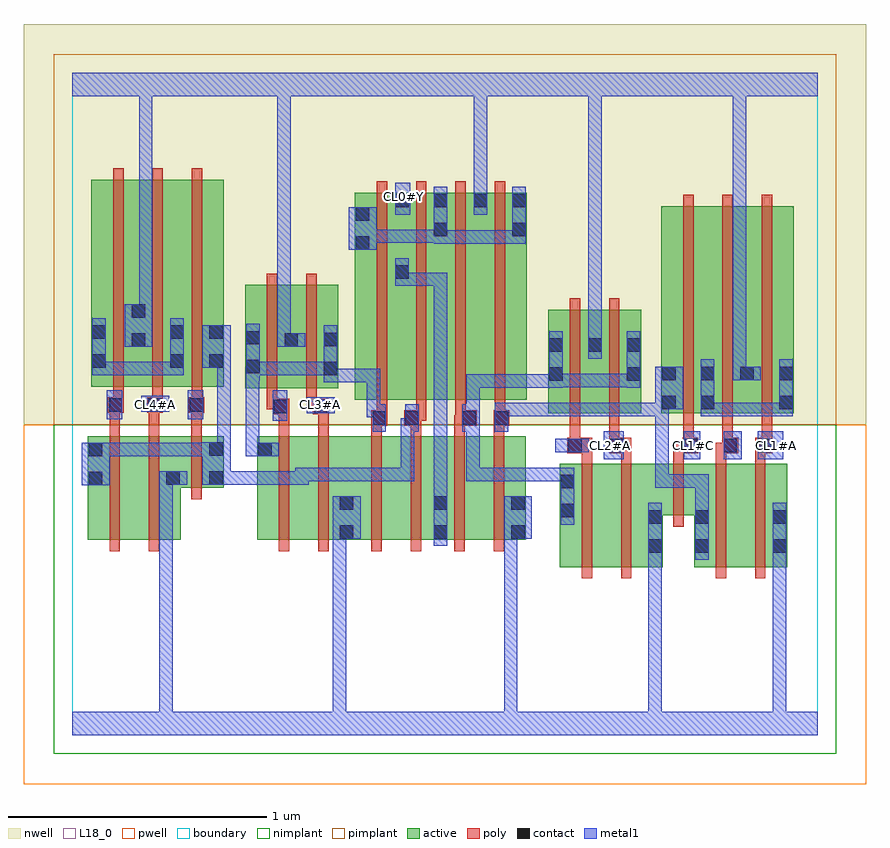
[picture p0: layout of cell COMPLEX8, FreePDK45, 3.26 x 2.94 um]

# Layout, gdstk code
import gdstk
lib = gdstk.Library(unit=1e-6, precision=1e-09)
def R(c, l, rs):  # rectangles x0, y0, x1, y1
    for r in rs: c.add(gdstk.rectangle(r[:2], r[2:], *l))
def A(c, l, x, y, w, h, nx, ny, dx, dy):  # array of equal rectangles
    R(c, l, [(x+i*dx, y+j*dy, x+i*dx+w, y+j*dy+h) for i in range(nx) for j in range(ny)])
active = (1, 0)
pwell = (2, 0)
nwell = (3, 0)
nimplant = (4, 0)
pimplant = (5, 0)
poly = (9, 0)
contact = (10, 0)
metal1 = (11, 0)
L18_0 = (18, 0)
boundary = (235, 0)

complex8 = lib.new_cell('COMPLEX8')
A(complex8, active, 2.424, 1.244, 0.06, 0.8, 3, 1, 0.152, 0)
R(complex8, active, [(1.884,0.65,1.944,1.05), (1.884,0.65,2.064,1.05), (2.064,0.65,2.282,1.05), (2.222,0.65,2.282,1.05), (2.402,0.65,2.462,1.05), (2.402,0.65,2.582,1.05), (2.582,0.65,2.762,1.05), (2.702,0.65,2.762,1.05), (0.06,0.756,0.12,1.156), (0.06,0.756,0.24,1.156), (0.24,0.756,0.42,1.156), (0.714,0.756,0.774,1.156), (0.714,0.756,0.894,1.156), (0.894,0.756,1.09,1.156), (1.03,0.756,1.252,1.156), (1.03,0.756,1.09,0.928), (1.252,0.756,1.452,1.156), (1.392,0.756,1.452,1.156), (1.392,0.756,1.572,1.156), (1.572,0.756,1.752,1.156), (1.692,0.756,1.752,1.156), (2.222,0.85,2.462,1.05), (0.36,0.884,0.42,1.028), (0.36,0.956,0.586,1.156), (0.526,0.956,0.586,1.156), (1.838,1.244,1.898,1.644), (1.838,1.244,2.05,1.644), (1.99,1.244,2.05,1.644), (1.99,1.244,2.198,1.644), (2.138,1.244,2.198,1.644), (2.276,1.244,2.336,2.044), (2.276,1.244,2.484,2.044), (2.424,1.244,2.636,2.044), (2.576,1.244,2.788,2.044), (1.092,1.296,1.304,2.096), (1.092,1.296,1.152,2.044), (1.244,1.296,1.304,2.096), (1.244,1.296,1.452,2.096), (1.392,1.296,1.452,2.096), (1.392,1.296,1.608,2.096), (1.548,1.296,1.756,2.096), (1.696,1.296,1.756,2.096), (0.668,1.34,0.728,1.74), (0.668,1.34,0.876,1.74), (0.816,1.34,1.028,1.74), (0.968,1.34,1.028,1.644), (0.074,1.346,0.286,2.146), (0.074,1.346,0.134,2.044), (0.226,1.346,0.286,2.146), (0.226,1.346,0.434,2.146), (0.374,1.346,0.434,2.146), (0.374,1.346,0.586,2.146), (0.526,1.346,0.586,2.044), (0.816,1.498,0.876,1.644), (1.548,1.558,1.608,2.096)])
R(complex8, pwell, [(-0.188,-0.188,3.068,1.2)])
R(complex8, nwell, [(-0.188,1.2,3.068,2.748)])
R(complex8, nimplant, [(-0.072,-0.072,2.952,1.2)])
R(complex8, pimplant, [(-0.072,1.2,2.952,2.632)])
A(complex8, poly, 2.36, 1.11, 0.04, 0.13, 3, 1, 0.152, 0)
A(complex8, poly, 2.36, 1.2, 0.04, 0.888, 3, 1, 0.152, 0)
A(complex8, poly, 1.176, 1.216, 0.04, 0.076, 4, 1, 0.152, 0)
A(complex8, poly, 1.176, 1.252, 0.04, 0.888, 4, 1, 0.152, 0)
A(complex8, poly, 0.158, 1.266, 0.04, 0.076, 3, 1, 0.152, 0)
A(complex8, poly, 0.158, 1.302, 0.04, 0.888, 3, 1, 0.152, 0)
R(complex8, poly, [(1.968,0.606,2.008,1.094), (2.12,0.606,2.16,1.094), (2.486,0.606,2.526,1.094), (2.638,0.606,2.678,1.094), (0.144,0.712,0.184,1.2), (0.296,0.712,0.336,1.2), (0.798,0.712,0.838,1.2), (0.95,0.712,0.99,1.2), (1.156,0.712,1.196,1.2), (1.308,0.712,1.348,1.2), (1.476,0.712,1.516,1.2), (1.628,0.712,1.668,1.2), (2.322,0.806,2.362,1.094), (0.46,0.912,0.5,1.2), (1.968,1.054,2.008,1.13), (2.12,1.054,2.16,1.13), (2.322,1.054,2.362,1.13), (2.486,1.054,2.526,1.13), (2.638,1.054,2.678,1.13), (1.912,1.09,2.008,1.15), (2.074,1.09,2.16,1.15), (2.322,1.09,2.398,1.13), (2.358,1.09,2.398,1.13), (2.358,1.09,2.418,1.15), (2.486,1.09,2.552,1.13), (2.512,1.09,2.552,1.13), (2.512,1.09,2.572,1.15), (2.638,1.09,2.704,1.15), (1.922,1.11,1.962,1.24), (1.922,1.11,1.962,1.15), (1.922,1.11,1.962,1.15), (2.074,1.11,2.114,1.24), (2.074,1.11,2.114,1.15), (2.074,1.11,2.114,1.15), (2.664,1.11,2.704,1.15), (2.664,1.11,2.704,1.15), (0.144,1.16,0.184,1.286), (0.296,1.16,0.336,1.286), (0.46,1.16,0.5,1.286), (0.798,1.16,0.838,1.28), (0.95,1.16,0.99,1.28), (1.156,1.16,1.196,1.236), (1.308,1.16,1.348,1.236), (1.476,1.16,1.516,1.236), (1.628,1.16,1.668,1.236), (1.156,1.196,1.196,1.236), (1.156,1.196,1.196,1.236), (1.156,1.196,1.216,1.256), (1.282,1.196,1.348,1.256), (1.476,1.196,1.52,1.236), (1.48,1.196,1.52,1.236), (1.48,1.196,1.562,1.256), (1.628,1.196,1.668,1.236), (1.628,1.196,1.668,1.236), (1.628,1.196,1.688,1.256), (1.922,1.2,1.962,1.688), (2.074,1.2,2.114,1.688), (1.308,1.216,1.348,1.256), (1.308,1.216,1.368,1.256), (0.774,1.24,0.838,1.3), (0.93,1.24,0.99,1.3), (0.138,1.246,0.198,1.306), (0.144,1.246,0.184,1.286), (0.144,1.246,0.184,1.286), (0.29,1.246,0.35,1.306), (0.296,1.246,0.336,1.286), (0.296,1.246,0.336,1.286), (0.45,1.246,0.51,1.306), (0.752,1.26,0.792,1.336), (0.752,1.26,0.814,1.3), (0.774,1.26,0.814,1.3), (0.904,1.26,0.944,1.336), (0.904,1.26,0.97,1.3), (0.93,1.26,0.97,1.3), (0.462,1.266,0.502,1.306), (0.462,1.266,0.502,1.306), (0.752,1.296,0.792,1.784), (0.904,1.296,0.944,1.784)])
A(complex8, contact, 2.428, 1.372, 0.052, 0.052, 3, 1, 0.152, 0)
R(complex8, contact, [(2.226,0.706,2.278,0.758), (2.406,0.706,2.458,0.758), (2.706,0.706,2.758,0.758), (1.034,0.76,1.086,0.812), (1.396,0.76,1.448,0.812), (1.696,0.76,1.748,0.812), (2.226,0.818,2.278,0.87), (2.406,0.818,2.458,0.87), (2.706,0.818,2.758,0.87), (1.888,0.842,1.94,0.894), (1.034,0.872,1.086,0.924), (1.396,0.872,1.448,0.924), (1.696,0.872,1.748,0.924), (1.888,0.954,1.94,1.006), (0.064,0.966,0.116,1.018), (0.364,0.968,0.416,1.02), (0.53,0.968,0.582,1.02), (0.064,1.078,0.116,1.13), (0.718,1.078,0.77,1.13), (0.53,1.08,0.582,1.132), (1.916,1.094,1.968,1.146), (2.078,1.094,2.13,1.146), (2.362,1.094,2.414,1.146), (2.516,1.094,2.568,1.146), (2.648,1.094,2.7,1.146), (1.16,1.2,1.212,1.252), (1.286,1.2,1.338,1.252), (1.506,1.2,1.558,1.252), (1.632,1.2,1.684,1.252), (0.778,1.244,0.83,1.296), (0.934,1.244,0.986,1.296), (0.142,1.25,0.194,1.302), (0.294,1.25,0.346,1.302), (0.454,1.25,0.506,1.302), (2.28,1.26,2.332,1.312), (2.428,1.26,2.48,1.312), (2.732,1.26,2.784,1.312), (1.842,1.37,1.894,1.422), (2.142,1.37,2.194,1.422), (2.28,1.372,2.332,1.424), (0.972,1.392,1.024,1.444), (0.672,1.398,0.724,1.45), (0.078,1.42,0.13,1.472), (0.378,1.42,0.43,1.472), (0.53,1.42,0.582,1.472), (1.842,1.482,1.894,1.534), (1.994,1.482,2.046,1.534), (2.142,1.482,2.194,1.534), (0.23,1.502,0.282,1.554), (0.82,1.502,0.872,1.554), (0.972,1.504,1.024,1.556), (0.672,1.51,0.724,1.562), (0.078,1.532,0.13,1.584), (0.378,1.532,0.43,1.584), (0.53,1.532,0.582,1.584), (0.23,1.614,0.282,1.666), (1.248,1.764,1.3,1.816), (1.096,1.876,1.148,1.928), (1.396,1.928,1.448,1.98), (1.7,1.928,1.752,1.98), (1.096,1.988,1.148,2.04), (1.248,2.04,1.3,2.092), (1.396,2.04,1.448,2.092), (1.552,2.04,1.604,2.092), (1.7,2.04,1.752,2.092)])
R(complex8, metal1, [(0,0,2.88,0.092), (0.336,0.04,0.388,0.092), (0.336,0.04,0.388,0.092), (0.336,0.04,0.388,0.092), (0.336,0.04,0.388,0.092), (0.336,0.04,0.388,0.092), (0.336,0.04,0.388,0.092), (0.336,0.04,0.388,0.092), (0.336,0.04,0.388,0.092), (0.336,0.04,0.388,0.092), (0.336,0.04,0.388,0.092), (0.336,0.04,0.388,0.092), (0.336,0.04,0.388,0.092), (0.336,0.04,0.388,1.02), (1.006,0.04,1.058,0.092), (1.006,0.04,1.058,0.092), (1.006,0.04,1.058,0.812), (1.668,0.04,1.72,0.092), (1.668,0.04,1.72,0.092), (1.668,0.04,1.72,0.362), (2.226,0.04,2.278,0.73), (2.706,0.04,2.758,0.092), (2.706,0.04,2.758,0.092), (2.706,0.04,2.758,0.092), (2.706,0.04,2.758,0.092), (2.706,0.04,2.758,0.092), (2.706,0.04,2.758,0.092), (2.706,0.04,2.758,0.092), (2.706,0.04,2.758,0.092), (2.706,0.04,2.758,0.092), (2.706,0.04,2.758,0.092), (2.706,0.04,2.758,0.73), (1.668,0.31,1.72,0.362), (1.668,0.31,1.72,0.362), (1.668,0.31,1.72,0.362), (1.668,0.31,1.72,0.362), (1.668,0.31,1.72,0.362), (1.668,0.31,1.72,0.362), (1.668,0.31,1.72,0.362), (1.668,0.31,1.72,0.362), (1.668,0.31,1.72,0.362), (1.668,0.31,1.72,0.812), (2.226,0.678,2.278,0.73), (2.226,0.678,2.278,0.73), (2.226,0.678,2.278,0.73), (2.226,0.678,2.278,0.73), (2.226,0.678,2.278,0.73), (2.226,0.678,2.278,0.73), (2.226,0.678,2.278,0.73), (2.226,0.678,2.278,0.73), (2.226,0.678,2.278,0.73), (2.226,0.678,2.278,0.73), (2.226,0.678,2.278,0.73), (2.226,0.678,2.278,0.73), (2.226,0.678,2.278,0.898), (2.406,0.678,2.458,0.898), (2.706,0.678,2.758,0.73), (2.706,0.678,2.758,0.73), (2.706,0.678,2.758,0.898), (1.396,0.732,1.448,0.952), (1.006,0.76,1.058,0.812), (1.006,0.76,1.058,0.812), (1.006,0.76,1.058,0.812), (1.006,0.76,1.058,0.812), (1.006,0.76,1.058,0.812), (1.006,0.76,1.058,0.812), (1.006,0.76,1.058,0.812), (1.006,0.76,1.058,0.812), (1.006,0.76,1.058,0.812), (1.006,0.76,1.058,0.812), (1.006,0.76,1.114,0.924), (1.668,0.76,1.776,0.924), (1.888,0.814,1.94,1.034), (2.406,0.846,2.458,1.008), (1.396,0.9,1.448,1.788), (2.252,0.956,2.304,1.008), (2.252,0.956,2.458,1.008), (2.252,0.956,2.304,1.284), (2.406,0.956,2.458,1.008), (2.406,0.956,2.458,1.008), (2.406,0.956,2.458,1.008), (0.036,0.966,0.144,1.13), (0.336,0.968,0.444,1.02), (0.502,0.968,0.612,1.132), (0.56,0.968,0.612,1.02), (0.56,0.968,0.612,1.02), (0.56,0.968,0.734,1.02), (0.682,0.968,0.734,1.02), (0.682,0.968,0.734,1.02), (0.682,0.968,0.734,1.02), (0.682,0.968,0.914,1.02), (0.862,0.968,0.914,1.02), (0.862,0.968,0.914,1.02), (0.862,0.968,0.914,1.034), (0.862,0.982,1.066,1.034), (1.014,0.982,1.066,1.034), (1.014,0.982,1.066,1.034), (1.014,0.982,1.066,1.034), (1.014,0.982,1.066,1.034), (1.014,0.982,1.066,1.034), (1.014,0.982,1.228,1.034), (1.176,0.982,1.228,1.034), (1.176,0.982,1.322,1.034), (1.27,0.982,1.322,1.034), (1.27,0.982,1.322,1.224), (1.522,0.982,1.574,1.034), (1.522,0.982,1.76,1.034), (1.522,0.982,1.574,1.224), (1.708,0.982,1.76,1.034), (1.708,0.982,1.76,1.034), (1.708,0.982,1.76,1.034), (1.708,0.982,1.76,1.034), (1.708,0.982,1.76,1.034), (1.708,0.982,1.94,1.034), (2.054,1.066,2.13,1.174), (2.362,1.066,2.426,1.174), (2.516,1.066,2.586,1.174), (2.648,1.066,2.746,1.174), (0.092,1.078,0.144,1.13), (0.092,1.078,0.144,1.13), (0.092,1.078,0.278,1.13), (0.226,1.078,0.278,1.13), (0.226,1.078,0.278,1.13), (0.226,1.078,0.278,1.13), (0.226,1.078,0.444,1.13), (0.392,1.078,0.444,1.13), (0.392,1.078,0.554,1.13), (0.502,1.078,0.554,1.13), (0.502,1.078,0.554,1.13), (0.67,1.078,0.722,1.13), (0.67,1.078,0.722,1.13), (0.67,1.078,0.722,1.422), (0.67,1.078,0.798,1.13), (0.56,1.08,0.612,1.132), (0.56,1.08,0.612,1.132), (0.56,1.08,0.612,1.132), (0.56,1.08,0.612,1.132), (0.56,1.08,0.612,1.472), (1.866,1.094,1.996,1.146), (1.16,1.172,1.212,1.28), (1.27,1.172,1.322,1.224), (1.27,1.172,1.338,1.224), (1.286,1.172,1.338,1.28), (1.506,1.172,1.558,1.28), (1.506,1.172,1.574,1.224), (1.522,1.172,1.574,1.224), (1.522,1.172,1.574,1.394), (1.632,1.172,1.684,1.28), (0.774,1.216,0.83,1.334), (0.134,1.222,0.194,1.334), (0.446,1.222,0.506,1.334), (1.138,1.228,1.19,1.28), (1.138,1.228,1.212,1.28), (1.138,1.228,1.19,1.416), (1.632,1.228,1.684,1.28), (1.632,1.228,1.684,1.284), (1.632,1.232,1.87,1.284), (1.818,1.232,1.87,1.284), (1.818,1.232,1.87,1.284), (1.818,1.232,1.87,1.284), (1.818,1.232,2.084,1.284), (2.032,1.232,2.084,1.284), (2.032,1.232,2.084,1.284), (2.032,1.232,2.084,1.284), (2.032,1.232,2.304,1.284), (2.252,1.232,2.304,1.284), (2.252,1.232,2.304,1.284), (2.252,1.232,2.304,1.284), (2.252,1.232,2.304,1.312), (2.428,1.232,2.48,1.452), (2.428,1.232,2.59,1.284), (2.538,1.232,2.59,1.284), (2.538,1.232,2.59,1.284), (2.538,1.232,2.59,1.284), (2.538,1.232,2.784,1.284), (2.732,1.232,2.784,1.284), (2.732,1.232,2.784,1.284), (2.732,1.232,2.784,1.452), (0.906,1.244,1.014,1.306), (0.266,1.25,0.374,1.312), (2.252,1.26,2.36,1.424), (1.522,1.342,1.574,1.394), (1.522,1.342,1.76,1.394), (1.708,1.342,1.76,1.394), (1.708,1.342,1.76,1.394), (1.708,1.342,1.76,1.394), (1.708,1.342,1.894,1.394), (1.842,1.342,1.894,1.562), (2.142,1.342,2.194,1.562), (1.842,1.344,1.894,1.396), (1.842,1.344,1.894,1.396), (1.842,1.344,2.004,1.396), (1.952,1.344,2.004,1.396), (1.952,1.344,2.194,1.396), (2.142,1.344,2.194,1.396), (2.142,1.344,2.194,1.396), (0.972,1.364,1.024,1.584), (0.972,1.364,1.19,1.416), (1.138,1.364,1.19,1.416), (0.67,1.37,0.724,1.422), (0.672,1.37,0.724,1.422), (0.672,1.37,0.724,1.59), (2.552,1.372,2.604,2.52), (2.552,1.372,2.66,1.424), (0.078,1.392,0.13,1.444), (0.078,1.392,0.13,1.444), (0.078,1.392,0.13,1.612), (0.078,1.392,0.26,1.444), (0.208,1.392,0.26,1.444), (0.208,1.392,0.26,1.444), (0.208,1.392,0.26,1.444), (0.208,1.392,0.43,1.444), (0.378,1.392,0.43,1.612), (0.672,1.392,0.724,1.444), (0.672,1.392,0.724,1.444), (0.672,1.392,0.914,1.444), (0.862,1.392,0.914,1.444), (0.862,1.392,0.914,1.444), (0.862,1.392,0.914,1.444), (0.862,1.392,1.024,1.444), (0.502,1.42,0.612,1.584), (1.994,1.454,2.046,1.562), (0.202,1.502,0.31,1.666), (0.792,1.502,0.9,1.554), (0.792,1.502,0.844,2.52), (1.994,1.51,2.046,1.562), (1.994,1.51,2.046,1.562), (1.994,1.51,2.046,1.562), (1.994,1.51,2.046,1.562), (1.994,1.51,2.046,1.562), (1.994,1.51,2.046,1.562), (1.994,1.51,2.046,2.52), (0.258,1.614,0.31,2.52), (1.248,1.736,1.3,1.844), (1.248,1.736,1.448,1.788), (1.396,1.736,1.448,1.788), (1.396,1.736,1.448,1.788), (1.396,1.736,1.448,1.788), (1.396,1.736,1.448,1.788), (1.396,1.736,1.448,1.788), (1.396,1.736,1.448,1.788), (1.396,1.736,1.448,1.788), (1.068,1.876,1.176,2.04), (1.396,1.9,1.448,2.12), (1.396,1.9,1.558,1.952), (1.506,1.9,1.558,1.952), (1.506,1.9,1.558,1.952), (1.506,1.9,1.558,1.952), (1.506,1.9,1.752,1.952), (1.7,1.9,1.752,1.952), (1.7,1.9,1.752,1.952), (1.7,1.9,1.752,2.12), (1.124,1.902,1.176,1.954), (1.124,1.902,1.176,1.954), (1.124,1.902,1.338,1.954), (1.286,1.902,1.338,1.954), (1.286,1.902,1.338,1.954), (1.286,1.902,1.338,1.954), (1.286,1.902,1.448,1.954), (1.248,2.012,1.306,2.134), (1.552,2.012,1.604,2.12), (1.552,2.068,1.604,2.52), (0,2.468,2.88,2.56), (0.258,2.468,0.31,2.52), (0.258,2.468,0.31,2.52), (0.258,2.468,0.31,2.52), (0.258,2.468,0.31,2.52), (0.258,2.468,0.31,2.52), (0.258,2.468,0.31,2.52), (0.258,2.468,0.31,2.52), (0.258,2.468,0.31,2.52), (0.792,2.468,0.844,2.52), (0.792,2.468,0.844,2.52), (0.792,2.468,0.844,2.52), (0.792,2.468,0.844,2.52), (0.792,2.468,0.844,2.52), (0.792,2.468,0.844,2.52), (0.792,2.468,0.844,2.52), (0.792,2.468,0.844,2.52), (0.792,2.468,0.844,2.52), (0.792,2.468,0.844,2.52), (0.792,2.468,0.844,2.52), (0.792,2.468,0.844,2.52), (0.792,2.468,0.844,2.52), (0.792,2.468,0.844,2.52), (0.792,2.468,0.844,2.52), (0.792,2.468,0.844,2.52), (1.552,2.468,1.604,2.52), (1.552,2.468,1.604,2.52), (1.552,2.468,1.604,2.52), (1.552,2.468,1.604,2.52), (1.552,2.468,1.604,2.52), (1.552,2.468,1.604,2.52), (1.552,2.468,1.604,2.52), (1.552,2.468,1.604,2.52), (1.994,2.468,2.046,2.52), (1.994,2.468,2.046,2.52), (1.994,2.468,2.046,2.52), (1.994,2.468,2.046,2.52), (1.994,2.468,2.046,2.52), (1.994,2.468,2.046,2.52), (1.994,2.468,2.046,2.52), (1.994,2.468,2.046,2.52), (1.994,2.468,2.046,2.52), (1.994,2.468,2.046,2.52), (2.552,2.468,2.604,2.52), (2.552,2.468,2.604,2.52), (2.552,2.468,2.604,2.52), (2.552,2.468,2.604,2.52), (2.552,2.468,2.604,2.52), (2.552,2.468,2.604,2.52), (2.552,2.468,2.604,2.52), (2.552,2.468,2.604,2.52)])
A(complex8, L18_0, 2.374, 1.094, 0.052, 0.052, 3, 1, 0.16, 0)
A(complex8, L18_0, 0.134, 1.254, 0.052, 0.052, 3, 1, 0.16, 0)
R(complex8, L18_0, [(0,0,2.88,0.092), (0.336,0.04,0.388,0.092), (0.336,0.04,0.388,0.092), (0.336,0.04,0.388,0.092), (0.336,0.04,0.388,0.092), (0.336,0.04,0.388,0.092), (0.336,0.04,0.388,0.092), (0.336,0.04,0.388,0.092), (0.336,0.04,0.388,0.092), (0.336,0.04,0.388,0.092), (0.336,0.04,0.388,0.092), (0.336,0.04,0.388,0.092), (0.336,0.04,0.388,0.092), (0.336,0.04,0.388,1.02), (1.006,0.04,1.058,0.092), (1.006,0.04,1.058,0.092), (1.006,0.04,1.058,0.812), (1.668,0.04,1.72,0.092), (1.668,0.04,1.72,0.092), (1.668,0.04,1.72,0.362), (2.226,0.04,2.278,0.73), (2.706,0.04,2.758,0.092), (2.706,0.04,2.758,0.092), (2.706,0.04,2.758,0.092), (2.706,0.04,2.758,0.092), (2.706,0.04,2.758,0.092), (2.706,0.04,2.758,0.092), (2.706,0.04,2.758,0.092), (2.706,0.04,2.758,0.092), (2.706,0.04,2.758,0.092), (2.706,0.04,2.758,0.092), (2.706,0.04,2.758,0.73), (1.668,0.31,1.72,0.362), (1.668,0.31,1.72,0.362), (1.668,0.31,1.72,0.362), (1.668,0.31,1.72,0.362), (1.668,0.31,1.72,0.362), (1.668,0.31,1.72,0.362), (1.668,0.31,1.72,0.362), (1.668,0.31,1.72,0.362), (1.668,0.31,1.72,0.362), (1.668,0.31,1.72,0.812), (2.226,0.678,2.278,0.73), (2.226,0.678,2.278,0.73), (2.226,0.678,2.278,0.73), (2.226,0.678,2.278,0.73), (2.226,0.678,2.278,0.73), (2.226,0.678,2.278,0.73), (2.226,0.678,2.278,0.73), (2.226,0.678,2.278,0.73), (2.226,0.678,2.278,0.73), (2.226,0.678,2.278,0.73), (2.226,0.678,2.278,0.73), (2.226,0.678,2.278,0.73), (2.226,0.678,2.278,0.898), (2.706,0.678,2.758,0.73), (2.706,0.678,2.758,0.73), (2.706,0.678,2.758,0.898), (1.396,0.732,1.448,0.952), (1.006,0.76,1.114,0.924), (1.006,0.76,1.058,0.812), (1.006,0.76,1.058,0.812), (1.006,0.76,1.058,0.812), (1.006,0.76,1.058,0.812), (1.006,0.76,1.058,0.812), (1.006,0.76,1.058,0.812), (1.006,0.76,1.058,0.812), (1.006,0.76,1.058,0.812), (1.006,0.76,1.058,0.812), (1.006,0.76,1.058,0.812), (1.668,0.76,1.776,0.924), (1.396,0.9,1.448,1.788), (0.336,0.968,0.444,1.02), (2.054,1.066,2.13,1.174), (2.362,1.066,2.426,1.174), (2.516,1.066,2.586,1.174), (2.648,1.066,2.746,1.174), (1.866,1.094,1.996,1.146), (1.894,1.094,1.946,1.146), (2.054,1.094,2.106,1.146), (0.774,1.216,0.83,1.334), (0.134,1.222,0.194,1.334), (0.446,1.222,0.506,1.334), (0.906,1.244,1.014,1.306), (0.266,1.25,0.374,1.312), (0.774,1.254,0.826,1.306), (0.934,1.254,0.986,1.306), (2.552,1.372,2.66,1.424), (2.552,1.372,2.604,2.52), (1.994,1.454,2.046,1.562), (0.202,1.502,0.31,1.666), (0.792,1.502,0.9,1.554), (0.792,1.502,0.844,2.52), (1.994,1.51,2.046,1.562), (1.994,1.51,2.046,1.562), (1.994,1.51,2.046,1.562), (1.994,1.51,2.046,1.562), (1.994,1.51,2.046,1.562), (1.994,1.51,2.046,1.562), (1.994,1.51,2.046,2.52), (0.258,1.614,0.31,2.52), (1.248,1.736,1.3,1.844), (1.248,1.736,1.448,1.788), (1.396,1.736,1.448,1.788), (1.396,1.736,1.448,1.788), (1.396,1.736,1.448,1.788), (1.396,1.736,1.448,1.788), (1.396,1.736,1.448,1.788), (1.396,1.736,1.448,1.788), (1.396,1.736,1.448,1.788), (1.248,2.012,1.306,2.134), (1.552,2.012,1.604,2.12), (1.254,2.054,1.306,2.106), (1.552,2.068,1.604,2.52), (0,2.468,2.88,2.56), (0.258,2.468,0.31,2.52), (0.258,2.468,0.31,2.52), (0.258,2.468,0.31,2.52), (0.258,2.468,0.31,2.52), (0.258,2.468,0.31,2.52), (0.258,2.468,0.31,2.52), (0.258,2.468,0.31,2.52), (0.258,2.468,0.31,2.52), (0.792,2.468,0.844,2.52), (0.792,2.468,0.844,2.52), (0.792,2.468,0.844,2.52), (0.792,2.468,0.844,2.52), (0.792,2.468,0.844,2.52), (0.792,2.468,0.844,2.52), (0.792,2.468,0.844,2.52), (0.792,2.468,0.844,2.52), (0.792,2.468,0.844,2.52), (0.792,2.468,0.844,2.52), (0.792,2.468,0.844,2.52), (0.792,2.468,0.844,2.52), (0.792,2.468,0.844,2.52), (0.792,2.468,0.844,2.52), (0.792,2.468,0.844,2.52), (0.792,2.468,0.844,2.52), (1.552,2.468,1.604,2.52), (1.552,2.468,1.604,2.52), (1.552,2.468,1.604,2.52), (1.552,2.468,1.604,2.52), (1.552,2.468,1.604,2.52), (1.552,2.468,1.604,2.52), (1.552,2.468,1.604,2.52), (1.552,2.468,1.604,2.52), (1.994,2.468,2.046,2.52), (1.994,2.468,2.046,2.52), (1.994,2.468,2.046,2.52), (1.994,2.468,2.046,2.52), (1.994,2.468,2.046,2.52), (1.994,2.468,2.046,2.52), (1.994,2.468,2.046,2.52), (1.994,2.468,2.046,2.52), (1.994,2.468,2.046,2.52), (1.994,2.468,2.046,2.52), (2.552,2.468,2.604,2.52), (2.552,2.468,2.604,2.52), (2.552,2.468,2.604,2.52), (2.552,2.468,2.604,2.52), (2.552,2.468,2.604,2.52), (2.552,2.468,2.604,2.52), (2.552,2.468,2.604,2.52), (2.552,2.468,2.604,2.52)])
R(complex8, boundary, [(0,0,2.88,2.56)])
complex8.add(gdstk.Label('CL0#Y', (1.28,2.08), layer=11, texttype=0))
complex8.add(gdstk.Label('CL1#A', (2.72,1.12), layer=11, texttype=0))
complex8.add(gdstk.Label('CL1#B', (2.56,1.12), layer=11, texttype=0))
complex8.add(gdstk.Label('CL1#C', (2.4,1.12), layer=11, texttype=0))
complex8.add(gdstk.Label('CL2#A', (2.08,1.12), layer=11, texttype=0))
complex8.add(gdstk.Label('CL2#B', (1.92,1.12), layer=11, texttype=0))
complex8.add(gdstk.Label('CL3#A', (0.96,1.28), layer=11, texttype=0))
complex8.add(gdstk.Label('CL3#B', (0.8,1.28), layer=11, texttype=0))
complex8.add(gdstk.Label('CL4#A', (0.32,1.28), layer=11, texttype=0))
complex8.add(gdstk.Label('CL4#B', (0.16,1.28), layer=11, texttype=0))
complex8.add(gdstk.Label('CL4#C', (0.48,1.28), layer=11, texttype=0))

lib.write_gds('COMPLEX8.gds')
